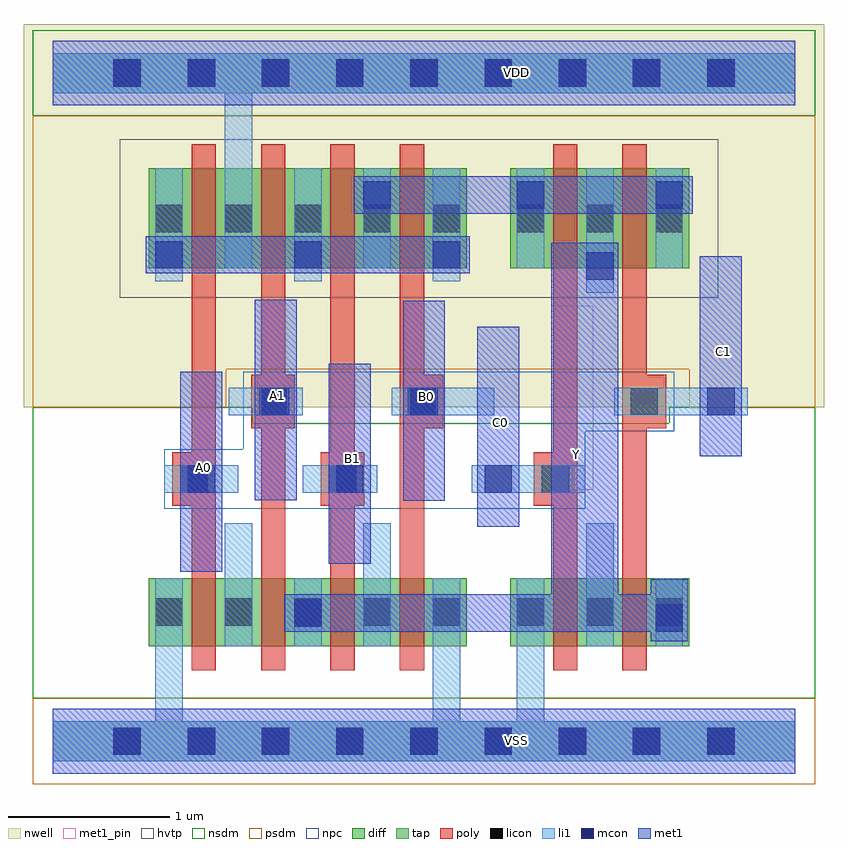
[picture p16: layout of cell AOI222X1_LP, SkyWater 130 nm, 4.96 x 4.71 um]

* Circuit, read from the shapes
.subckt AOI222X1_LP A0 A1 B0 B1 C0 C1 VDD VSS Y
XM1 n1 A0 VSS VSS sky130_fd_pr__nfet_01v8 w=0.42 l=0.15
XM2 Y A1 n1 VSS sky130_fd_pr__nfet_01v8 w=0.42 l=0.15
XM3 n2 B1 Y VSS sky130_fd_pr__nfet_01v8 w=0.42 l=0.15
XM4 VSS B0 n2 VSS sky130_fd_pr__nfet_01v8 w=0.42 l=0.15
XM5 n3 C0 VSS VSS sky130_fd_pr__nfet_01v8 w=0.42 l=0.15
XM6 Y C1 n3 VSS sky130_fd_pr__nfet_01v8 w=0.42 l=0.15
XM7 VDD A0 n4 VDD sky130_fd_pr__pfet_01v8_hvt w=0.62 l=0.15
XM8 n4 A1 VDD VDD sky130_fd_pr__pfet_01v8_hvt w=0.62 l=0.15
XM9 n5 B1 n4 VDD sky130_fd_pr__pfet_01v8_hvt w=0.62 l=0.15
XM10 n4 B0 n5 VDD sky130_fd_pr__pfet_01v8_hvt w=0.62 l=0.15
XM11 Y C0 n5 VDD sky130_fd_pr__pfet_01v8_hvt w=0.62 l=0.15
XM12 n5 C1 Y VDD sky130_fd_pr__pfet_01v8_hvt w=0.62 l=0.15
.ends

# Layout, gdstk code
import gdstk
lib = gdstk.Library(unit=1e-6, precision=1e-09)
def R(c, l, rs):  # rectangles x0, y0, x1, y1
    for r in rs: c.add(gdstk.rectangle(r[:2], r[2:], *l))
def A(c, l, x, y, w, h, nx, ny, dx, dy):  # array of equal rectangles
    R(c, l, [(x+i*dx, y+j*dy, x+i*dx+w, y+j*dy+h) for i in range(nx) for j in range(ny)])
def P(c, l, *ps):  # polygons
    for p in ps: c.add(gdstk.Polygon(p, *l))
nwell = (64, 20)
diff = (65, 20)
tap = (65, 44)
poly = (66, 20)
licon = (66, 44)
li1 = (67, 20)
mcon = (67, 44)
met1_pin = (68, 16)
met1 = (68, 20)
hvtp = (78, 44)
nsdm = (93, 44)
psdm = (94, 20)
npc = (95, 20)

l1m1_c_cdns_795853916197 = lib.new_cell('L1M1_C_CDNS_795853916197')
R(l1m1_c_cdns_795853916197, li1, [(-0.085,-0.165,0.085,0.165)])
R(l1m1_c_cdns_795853916197, mcon, [(-0.085,-0.085,0.085,0.085)])
R(l1m1_c_cdns_795853916197, met1, [(-0.115,-0.145,0.115,0.145)])

l1m1_c_cdns_795853916198 = lib.new_cell('L1M1_C_CDNS_795853916198')
R(l1m1_c_cdns_795853916198, li1, [(-0.085,-0.165,0.085,0.165)])
R(l1m1_c_cdns_795853916198, mcon, [(-0.085,-0.085,0.085,0.085)])
R(l1m1_c_cdns_795853916198, met1, [(-0.145,-0.115,0.145,0.115)])

pyl1con_c_cdns_795853916 = lib.new_cell('PYL1CON_C_CDNS_795853916195')
R(pyl1con_c_cdns_795853916, poly, [(-0.135,-0.165,0.135,0.165)])
R(pyl1con_c_cdns_795853916, licon, [(-0.085,-0.085,0.085,0.085)])
R(pyl1con_c_cdns_795853916, npc, [(-0.185,-0.185,0.185,0.185)])

l1m1_c_cdns_795853916194 = lib.new_cell('L1M1_C_CDNS_795853916194')
R(l1m1_c_cdns_795853916194, li1, [(-0.165,-0.085,0.165,0.085)])
R(l1m1_c_cdns_795853916194, mcon, [(-0.085,-0.085,0.085,0.085)])
R(l1m1_c_cdns_795853916194, met1, [(-0.115,-0.145,0.115,0.145)])

l1m1_c_cdns_795853916191 = lib.new_cell('L1M1_C_CDNS_7958539161919')
R(l1m1_c_cdns_795853916191, li1, [(-0.085,-0.165,0.085,0.165)])
R(l1m1_c_cdns_795853916191, mcon, [(-0.085,-0.085,0.085,0.085)])
R(l1m1_c_cdns_795853916191, met1, [(-0.115,-0.085,0.115,0.085)])

aoi222x1_lp = lib.new_cell('AOI222X1_LP')
R(aoi222x1_lp, nwell, [(-0.18,2.07,4.78,4.445)])
R(aoi222x1_lp, diff, [(0.595,0.59,2.565,1.01), (2.835,0.59,3.945,1.01), (0.595,2.93,2.565,3.55), (2.835,2.93,3.945,3.55)])
A(aoi222x1_lp, poly, 0.86, 0.44, 0.15, 3.26, 4, 1, 0.43, 0)
R(aoi222x1_lp, poly, [(3.1,0.44,3.25,3.7), (3.53,0.44,3.68,3.7)])
A(aoi222x1_lp, licon, 0.375, -0.085, 0.17, 0.17, 9, 2, 0.46, 4.14)
A(aoi222x1_lp, licon, 0.635, 0.715, 0.17, 0.17, 5, 2, 0.43, 2.44)
A(aoi222x1_lp, licon, 2.875, 0.715, 0.17, 0.17, 3, 2, 0.43, 2.44)
A(aoi222x1_lp, li1, 1.495, 2.93, 0.17, 0.62, 3, 1, 0.43, 0)
A(aoi222x1_lp, li1, 2.875, 2.93, 0.17, 0.62, 3, 1, 0.43, 0)
R(aoi222x1_lp, li1, [(1.065,0.59,1.235,1.35), (1.495,0.59,1.665,1.01), (1.925,0.59,2.095,1.35), (3.305,0.59,3.475,1.35), (3.735,0.59,3.905,1.01), (0.635,2.93,0.805,3.55)])
P(aoi222x1_lp, li1, [(1.065,2.93),(1.065,4.015),(0,4.015),(0,4.265),(4.6,4.265),(4.6,4.015),(1.235,4.015),(1.235,2.93)],
  [(0,-0.125),(0,0.125),(0.635,0.125),(0.635,1.01),(0.805,1.01),(0.805,0.125),(2.355,0.125),(2.355,1.01),(2.525,1.01),(2.525,0.125),(2.875,0.125),(2.875,1.01),(3.045,1.01),(3.045,0.125),(4.6,0.125),(4.6,-0.125)])
A(aoi222x1_lp, mcon, 0.375, -0.085, 0.17, 0.17, 9, 2, 0.46, 4.14)
R(aoi222x1_lp, met1_pin, [(0.79,1.05,1.05,2.29), (1.71,1.1,1.97,2.34), (2.63,1.33,2.89,2.57), (2.17,1.49,2.43,2.73), (1.25,1.495,1.51,2.735), (3.09,1.56,3.35,2.7), (4.01,1.765,4.27,3.005)])
P(aoi222x1_lp, met1, [(1.435,0.68),(1.435,0.91),(3.09,0.91),(3.09,3.09),(3.505,3.09),(3.505,0.91),(3.705,0.91),(3.705,1.005),(3.935,1.005),(3.935,0.68)])
R(aoi222x1_lp, hvtp, [(0.415,2.75,4.125,3.73)])
R(aoi222x1_lp, nsdm, [(-0.125,3.875,4.725,4.405)])
P(aoi222x1_lp, nsdm, [(-0.125,0.265),(-0.125,2.07),(1.24,2.07),(1.24,1.97),(3.82,1.97),(3.82,2.07),(4.725,2.07),(4.725,0.265)])
R(aoi222x1_lp, psdm, [(-0.125,-0.265,4.725,0.265)])
P(aoi222x1_lp, psdm, [(-0.125,2.07),(-0.125,3.875),(4.725,3.875),(4.725,2.07),(3.945,2.07),(3.945,2.305),(1.075,2.305),(1.075,2.07)])
P(aoi222x1_lp, npc, [(0.69,1.44),(0.69,1.81),(1.18,1.81),(1.18,2.29),(3.85,2.29),(3.85,1.92),(3.3,1.92),(3.3,1.44)])
aoi222x1_lp.add(gdstk.FlexPath([(0,4.14),(4.6,4.14)], 0.4, ends="flush", simple_path=True, layer=68, datatype=20))  # met1
aoi222x1_lp.add(gdstk.FlexPath([(0,0),(4.6,0)], 0.4, ends="flush", simple_path=True, layer=68, datatype=20))  # met1
aoi222x1_lp.add(gdstk.FlexPath([(4.14,3.005),(4.14,1.765)], 0.26, ends="flush", simple_path=True, layer=68, datatype=20))  # met1
aoi222x1_lp.add(gdstk.FlexPath([(2.3,2.73),(2.3,1.49)], 0.26, ends="flush", simple_path=True, layer=68, datatype=20))  # met1
aoi222x1_lp.add(gdstk.FlexPath([(2.76,2.57),(2.76,1.33)], 0.26, ends="flush", simple_path=True, layer=68, datatype=20))  # met1
aoi222x1_lp.add(gdstk.FlexPath([(0.92,2.29),(0.92,1.05)], 0.26, ends="flush", simple_path=True, layer=68, datatype=20))  # met1
aoi222x1_lp.add(gdstk.FlexPath([(1.84,2.34),(1.84,1.1)], 0.26, ends="flush", simple_path=True, layer=68, datatype=20))  # met1
aoi222x1_lp.add(gdstk.FlexPath([(2.585,3.015),(0.72,3.015)], 0.23, ends="flush", simple_path=True, layer=68, datatype=20))  # met1
aoi222x1_lp.add(gdstk.FlexPath([(3.82,3.385),(2.01,3.385)], 0.23, ends="flush", simple_path=True, layer=68, datatype=20))  # met1
aoi222x1_lp.add(gdstk.FlexPath([(1.38,2.735),(1.38,1.495)], 0.26, ends="flush", simple_path=True, layer=68, datatype=20))  # met1
aoi222x1_lp.add(gdstk.FlexPath([(3.48,2.105),(4.14,2.105)], 0.17, ends="flush", simple_path=True, layer=67, datatype=20))  # li1
aoi222x1_lp.add(gdstk.FlexPath([(1.09,2.105),(1.55,2.105)], 0.17, ends="flush", simple_path=True, layer=67, datatype=20))  # li1
aoi222x1_lp.add(gdstk.FlexPath([(2.735,2.105),(2.1,2.105)], 0.17, ends="flush", simple_path=True, layer=67, datatype=20))  # li1
aoi222x1_lp.add(gdstk.FlexPath([(1.15,1.625),(0.69,1.625)], 0.17, ends="flush", simple_path=True, layer=67, datatype=20))  # li1
aoi222x1_lp.add(gdstk.FlexPath([(2.84,1.625),(3.3,1.625)], 0.17, ends="flush", simple_path=True, layer=67, datatype=20))  # li1
aoi222x1_lp.add(gdstk.FlexPath([(2.01,1.625),(1.55,1.625)], 0.17, ends="flush", simple_path=True, layer=67, datatype=20))  # li1
aoi222x1_lp.add(gdstk.FlexPath([(0,4.14),(4.6,4.14)], 0.25, ends="flush", simple_path=True, layer=65, datatype=44))  # tap
aoi222x1_lp.add(gdstk.FlexPath([(0,0),(4.6,0)], 0.25, ends="flush", simple_path=True, layer=65, datatype=44))  # tap
aoi222x1_lp.add(gdstk.FlexPath([(0,4.14),(4.6,4.14)], 0.4, ends="flush", simple_path=True, layer=68, datatype=16))  # met1_pin
aoi222x1_lp.add(gdstk.FlexPath([(0,0),(4.6,0)], 0.4, ends="flush", simple_path=True, layer=68, datatype=16))  # met1_pin
aoi222x1_lp.add(gdstk.Reference(l1m1_c_cdns_795853916197, (3.82,0.765)))
aoi222x1_lp.add(gdstk.Reference(l1m1_c_cdns_795853916197, (3.39,2.945)))
aoi222x1_lp.add(gdstk.Reference(l1m1_c_cdns_795853916198, (2.44,3.015)))
aoi222x1_lp.add(gdstk.Reference(l1m1_c_cdns_795853916198, (0.72,3.015)))
aoi222x1_lp.add(gdstk.Reference(l1m1_c_cdns_795853916198, (1.58,3.015)))
aoi222x1_lp.add(gdstk.Reference(l1m1_c_cdns_795853916198, (2.01,3.385)))
aoi222x1_lp.add(gdstk.Reference(l1m1_c_cdns_795853916198, (2.96,3.385)))
aoi222x1_lp.add(gdstk.Reference(l1m1_c_cdns_795853916198, (3.82,3.385)))
aoi222x1_lp.add(gdstk.Reference(pyl1con_c_cdns_795853916, (1.365,2.105)))
aoi222x1_lp.add(gdstk.Reference(pyl1con_c_cdns_795853916, (0.875,1.625)))
aoi222x1_lp.add(gdstk.Reference(pyl1con_c_cdns_795853916, (1.795,1.625)))
aoi222x1_lp.add(gdstk.Reference(pyl1con_c_cdns_795853916, (2.285,2.105)))
aoi222x1_lp.add(gdstk.Reference(pyl1con_c_cdns_795853916, (3.115,1.625)))
aoi222x1_lp.add(gdstk.Reference(pyl1con_c_cdns_795853916, (3.665,2.105)))
aoi222x1_lp.add(gdstk.Reference(l1m1_c_cdns_795853916194, (4.14,2.105)))
aoi222x1_lp.add(gdstk.Reference(l1m1_c_cdns_795853916194, (2.3,2.105)))
aoi222x1_lp.add(gdstk.Reference(l1m1_c_cdns_795853916194, (1.38,2.105)))
aoi222x1_lp.add(gdstk.Reference(l1m1_c_cdns_795853916194, (2.76,1.625)))
aoi222x1_lp.add(gdstk.Reference(l1m1_c_cdns_795853916194, (1.84,1.625)))
aoi222x1_lp.add(gdstk.Reference(l1m1_c_cdns_795853916194, (0.92,1.625)))
aoi222x1_lp.add(gdstk.Reference(l1m1_c_cdns_795853916191, (1.58,0.795)))
aoi222x1_lp.add(gdstk.Label('VDD', (2.875,4.145), layer=68, texttype=5))
aoi222x1_lp.add(gdstk.Label('Y', (3.245,1.775), layer=68, texttype=5))
aoi222x1_lp.add(gdstk.Label('C1', (4.155,2.415), layer=68, texttype=5))
aoi222x1_lp.add(gdstk.Label('B0', (2.315,2.135), layer=68, texttype=5))
aoi222x1_lp.add(gdstk.Label('B1', (1.855,1.75), layer=68, texttype=5))
aoi222x1_lp.add(gdstk.Label('C0', (2.775,1.975), layer=68, texttype=5))
aoi222x1_lp.add(gdstk.Label('A1', (1.395,2.14), layer=68, texttype=5))
aoi222x1_lp.add(gdstk.Label('A0', (0.935,1.695), layer=68, texttype=5))
aoi222x1_lp.add(gdstk.Label('VSS', (2.875,0.005), layer=68, texttype=5))

lib.write_gds('AOI222X1_LP.gds')
